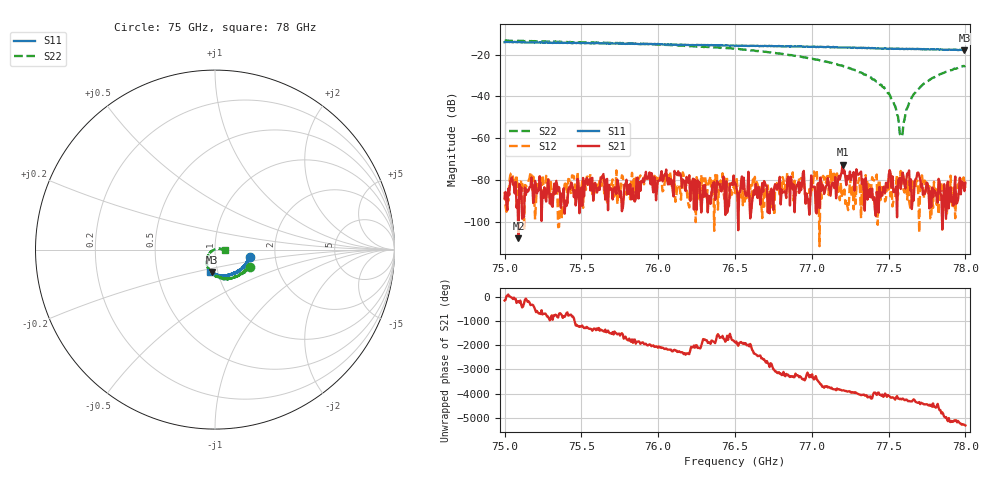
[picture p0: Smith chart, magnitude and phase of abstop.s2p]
# Hz S MA R 50
! CMT, C4420, 21421029, 25.1.2/3
! Date: 8/7/2025 12:48:09 PM
! Data: Format (Calibration Info)
! Freq	S33:Mag/Ang(F2)	S43:Mag/Ang(F2)	S34:Mag/Ang(F2)	S44:Mag/Ang(F2)
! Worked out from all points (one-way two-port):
!   500 points, 75 GHz to 78 GHz, reference 50 ohm
!   highest |S21| = -72.54 dB at 77.2 GHz (marker M1); lowest = -107.9 dB at 75.09 GHz (marker M2)
!   lowest |S11| = -18.1 dB at 77.994 GHz (marker M3), VSWR 1.29, Z = 47.1 - j11.9 ohm
!   |S11| at or under -10 dB: start of sweep to end of sweep
!   |S22| runs from -59.3 to -13.3 dB; largest |S21 - S12| = 0.00025
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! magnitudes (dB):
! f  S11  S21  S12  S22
! 75 GHz  -14.1  -88.7  -85.6  -13.3
! 75.09 GHz  -14.0  -107.9  -81.7  -13.4
! 75.505 GHz  -14.4  -92.2  -80.6  -14.1
! 76.004 GHz  -15.1  -80.3  -79.1  -15.2
! 76.088 GHz  -15.2  -80.0  -82.8  -15.4
! 76.118 GHz  -15.2  -76.7  -87.3  -15.6
! 76.166 GHz  -15.4  -80.3  -77.8  -15.8
! 76.503 GHz  -15.8  -81.5  -86.3  -17.3
! 77.002 GHz  -16.3  -83.4  -84.6  -22.0
! 77.026 GHz  -16.4  -95.2  -75.1  -22.4
! 77.17 GHz  -16.6  -80.1  -85.5  -25.0
! 77.2 GHz  -16.7  -72.5  -85.4  -25.3
! 77.23 GHz  -16.7  -78.0  -92.1  -26.3
! 77.303 GHz  -16.8  -77.4  -81.1  -28.2
! 77.369 GHz  -16.8  -84.7  -88.0  -30.4
! 77.501 GHz  -17.3  -77.6  -84.6  -38.4
! 77.537 GHz  -17.3  -85.8  -89.2  -44.0
! 77.585 GHz  -17.3  -80.0  -80.4  -59.3
! 77.627 GHz  -17.4  -77.4  -80.6  -44.5
! 77.699 GHz  -17.3  -77.8  -105.1  -36.2
! 77.994 GHz  -18.1  -85.2  -80.7  -25.6
! 78 GHz  -17.8  -81.3  -83.7  -25.4
